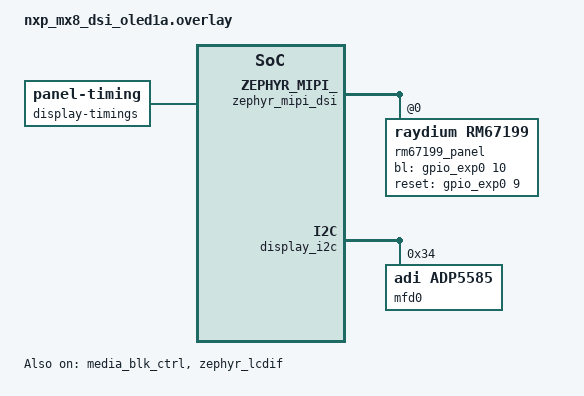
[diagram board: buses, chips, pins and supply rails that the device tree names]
/*
 * Copyright 2025 NXP
 *
 * SPDX-License-Identifier: Apache-2.0
 */

#include <zephyr/dt-bindings/display/panel.h>

/ {
	chosen {
		zephyr,display = &lcdif;
	};
};

&media_blk_ctrl {
	status = "okay";
};

&video_pll {
	compatible = "nxp,imx93-video-pll";
	rdiv = <1>;
	mfi = <121>;
	mfn = <0>;
	mfd = <1>;
	odiv = <6>;
	pll-frequency = <484000000>;
	status = "okay";
};

&zephyr_lcdif {
	width = <1080>;
	height = <1920>;
	pixel-format = "argb-8888";
	media-axi-clk-rate = <400000000>;
	media-apb-clk-rate = <133333334>;
	status = "okay";

	display-timings {
		compatible = "zephyr,panel-timing";
		hsync-len = <2>;
		hfront-porch = <20>;
		hback-porch = <34>;
		vsync-len = <2>;
		vfront-porch = <10>;
		vback-porch = <4>;
		de-active = <0>;
		pixelclk-active = <0>;
		hsync-active = <1>;
		vsync-active = <1>;
		clock-frequency = <121000000>;
	};
};

&zephyr_mipi_dsi {
	nxp,dc = <&lcdif>;
	dpi-color-coding = "24-bit";
	dpi-video-mode = "non-burst-sync-pulse";
	dphy-ref-frequency = <24000000>;
	data-rate-clock = <726000000>;
	status = "okay";

	rm67199_panel@0 {
		compatible = "raydium,rm67199";
		reg = <0>;
		bl-gpios = <&gpio_exp0 10 GPIO_ACTIVE_HIGH>;
		reset-gpios = <&gpio_exp0 9 GPIO_ACTIVE_HIGH>;
		data-lanes = <4>;
		pixel-format = <MIPI_DSI_PIXFMT_RGB888>;
		status = "okay";
	};
};

&display_i2c {
	status = "okay";

	mfd0: adp5585@34 {
		compatible = "adi,adp5585";
		reg = <0x34>;
		status = "okay";

		gpio_exp0: adp5585_gpio {
			compatible = "adi,adp5585-gpio";
			gpio-controller;
			#gpio-cells = <2>;
			ngpios = <13>;
			gpio-reserved-ranges = <5 3>;
			status = "okay";
		};
	};
};
